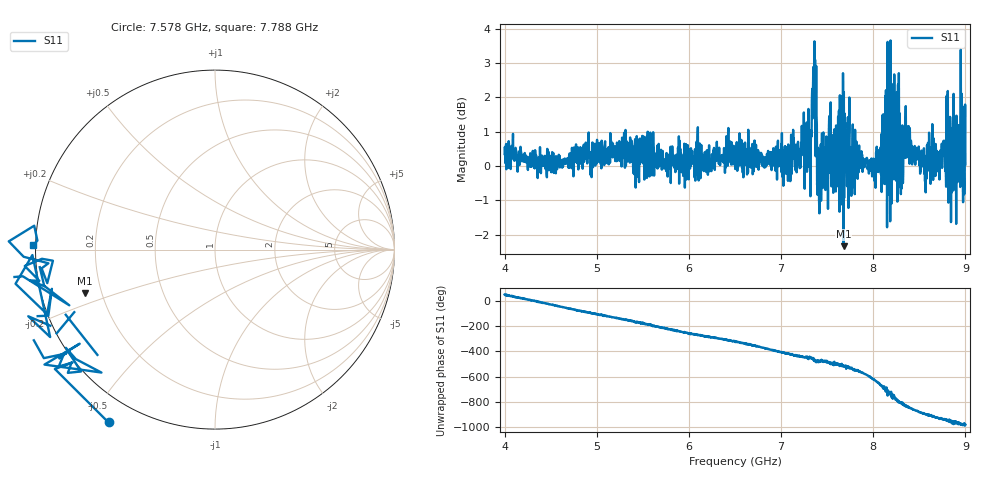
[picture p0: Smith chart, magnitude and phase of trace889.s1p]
! Created with skrf 1.8.0 (http://scikit-rf.org).
# Hz S RI R 50.0
!freq ReS11 ImS11
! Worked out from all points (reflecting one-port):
!   1601 points, 4 GHz to 9 GHz, reference 50 ohm
!   lowest |S11| = -2.3 dB at 7.678 GHz (marker M1), VSWR 7.49, Z = 6.85 - j7.97 ohm
!   phase of S11 starts at 53 deg and turns -1037 deg over the sweep
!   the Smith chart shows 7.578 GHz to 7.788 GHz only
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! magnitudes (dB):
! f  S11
! 4 GHz  0.4
! 4.625 GHz  0.0
! 5.25 GHz  0.1
! 5.875 GHz  -0.1
! 6.5 GHz  0.4
! 7.125 GHz  0.6
! 7.306 GHz  0.2
! 7.359 GHz  2.3
! 7.397 GHz  -0.8
! 7.416 GHz  -1.4
! 7.516 GHz  0.2
! 7.569 GHz  -0.2
! 7.65 GHz  1.3
! 7.678 GHz  -2.3
! 7.75 GHz  0.4
! 8.034 GHz  0.0
! 8.1 GHz  1.5
! 8.156 GHz  3.6
! 8.209 GHz  1.0
! 8.262 GHz  -1.0
! 8.312 GHz  0.8
! 8.334 GHz  0.4
! 8.375 GHz  1.0
! 8.556 GHz  -0.2
! 8.784 GHz  0.7
! 8.841 GHz  0.6
! 8.947 GHz  0.6
! 9 GHz  0.0
